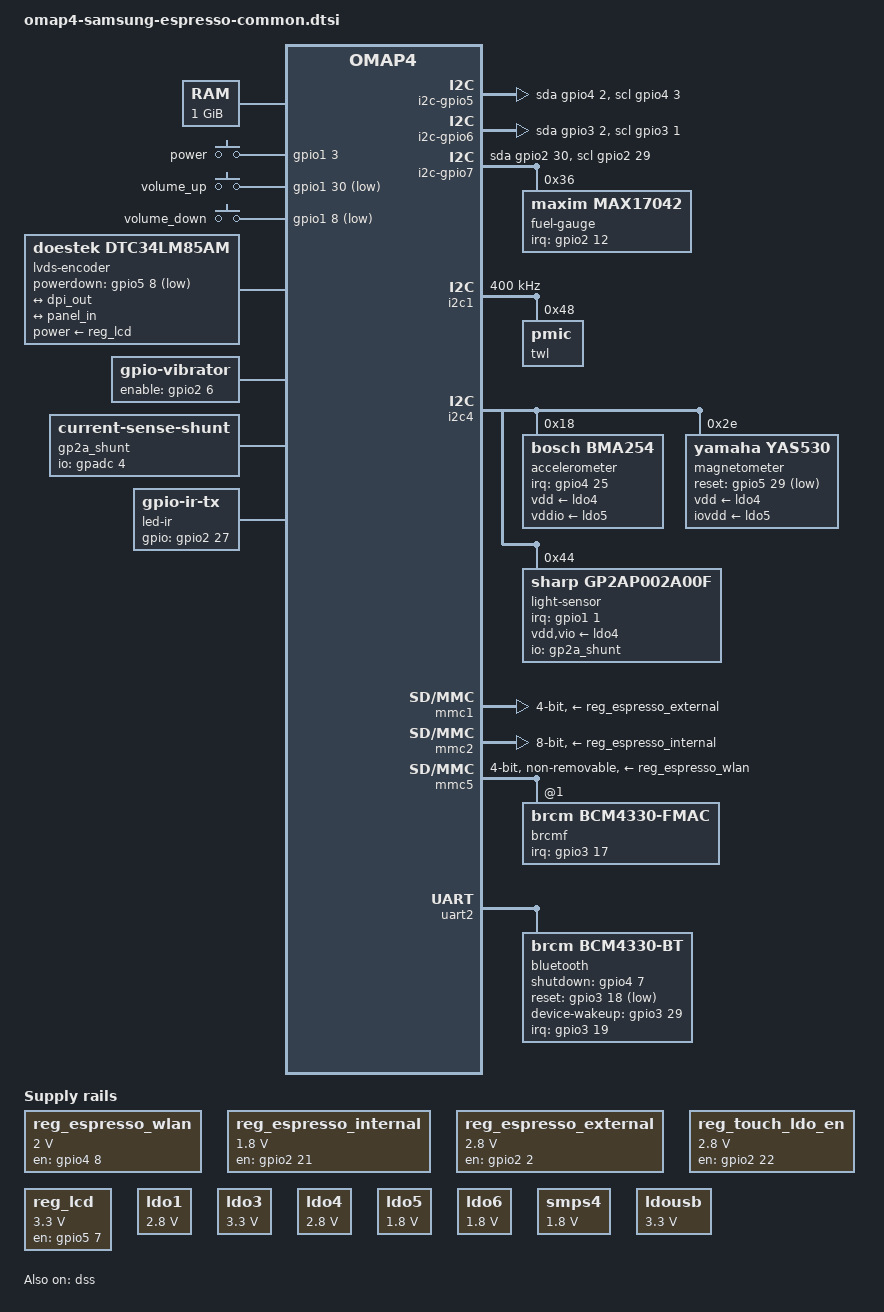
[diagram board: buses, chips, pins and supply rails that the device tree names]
// SPDX-License-Identifier: (GPL-2.0 OR MIT)
/dts-v1/;
#include "dt-bindings/gpio/gpio.h"
#include <dt-bindings/interrupt-controller/irq.h>
#include <dt-bindings/input/input.h>
#include "omap443x.dtsi"

/ {
	memory@80000000 {
		device_type = "memory";
		reg = <0x80000000 0x40000000>; /* 1 GB */
	};

	reserved-memory {
		#address-cells = <1>;
		#size-cells = <1>;
		ranges;

		continuous_splash: framebuffer@bef00000{
			reg = <0xbef00000 (1024 * 600 * 4)>;
			no-map;
		};
	};

	chosen {
		stdout-path = &uart3;
		#address-cells = <1>;
	};

	i2c-gpio5 {
		compatible = "i2c-gpio";
		pinctrl-names = "default";
		pinctrl-0 = <&i2c5_pins>;
		sda-gpios = <&gpio4 2 (GPIO_ACTIVE_HIGH | GPIO_OPEN_DRAIN)>;
		scl-gpios = <&gpio4 3 (GPIO_ACTIVE_HIGH | GPIO_OPEN_DRAIN)>;
		i2c-gpio,delay-us = <10>;
		#address-cells = <1>;
		#size-cells = <0>;

		/* TODO: SMB136 Charger for 7" variant at 0x4d */
	};

	i2c-gpio6 {
		compatible = "i2c-gpio";
		pinctrl-names = "default";
		pinctrl-0 = <&i2c6_pins>;
		sda-gpios = <&gpio3 2 (GPIO_ACTIVE_HIGH | GPIO_OPEN_DRAIN)>;
		scl-gpios = <&gpio3 1 (GPIO_ACTIVE_HIGH | GPIO_OPEN_DRAIN)>;
		i2c-gpio,delay-us = <10>;
		#address-cells = <1>;
		#size-cells = <0>;

		/* TODO: STMPE811 ADC at 0x41 */
	};

	i2c-gpio7 {
		compatible = "i2c-gpio";
		pinctrl-names = "default";
		pinctrl-0 = <&i2c7_pins>;
		sda-gpios = <&gpio2 30 (GPIO_ACTIVE_HIGH | GPIO_OPEN_DRAIN)>;
		scl-gpios = <&gpio2 29 (GPIO_ACTIVE_HIGH | GPIO_OPEN_DRAIN)>;
		i2c-gpio,delay-us = <3>;
		#address-cells = <1>;
		#size-cells = <0>;

		fuel-gauge@36 {
			compatible = "maxim,max17042";
			reg = <0x36>;
			pinctrl-0 = <&fuel_alert_irq>;
			pinctrl-names = "default";
			interrupt-parent = <&gpio2>;
			interrupts = <12 IRQ_TYPE_LEVEL_LOW>;
			maxim,rsns-microohm = <10000>;
			maxim,over-heat-temp = <500>;
			maxim,dead-volt = <2500>;
			maxim,over-volt = <4300>;
		};
	};

	reg_espresso_wlan: regulator-espresso-wlan {
		pinctrl-names = "default";
		pinctrl-0 = <&wlanen_gpio>;
		compatible = "regulator-fixed";
		regulator-name = "espresso_wlan";
		regulator-max-microvolt = <2000000>;
		regulator-min-microvolt = <2000000>;
		gpio = <&gpio4 8 GPIO_ACTIVE_HIGH>; /* GPIO_104 */
		startup-delay-us = <70000>;
		regulator-always-on;
		enable-active-high;
	};

	wlan_pwrseq: wlan-pwrseq {
		compatible = "mmc-pwrseq-simple";
		clocks = <&twl 0>;
		clock-names = "ext_clock";
	};

	reg_espresso_internal: regulator-espresso-internal {
		compatible = "regulator-fixed";
		regulator-name = "eMMC_LDO";
		regulator-max-microvolt = <1800000>;
		regulator-min-microvolt = <1800000>;
		gpios = <&gpio2 21 GPIO_ACTIVE_HIGH>; /* GPIO_63 */
		startup-delay-us = <100000>;
		regulator-boot-on;
		regulator-always-on;
		enable-active-high;
	};

	reg_espresso_external: regulator-espresso-external {
		compatible = "regulator-fixed";
		regulator-name = "vmmc1";
		regulator-max-microvolt = <2800000>;
		regulator-min-microvolt = <2800000>;
		gpios = <&gpio2 2 GPIO_ACTIVE_HIGH>; /* GPIO_34 */
		enable-active-high;
	};

	reg_touch_ldo_en: regulator-touch-ldo-en  {
		compatible = "regulator-fixed";
		regulator-name = "touch_ldo_en";
		regulator-max-microvolt = <2800000>;
		regulator-min-microvolt = <2800000>;
		gpios = <&gpio2 22 GPIO_ACTIVE_HIGH>; /* GPIO_54 */
		regulator-always-on;
		enable-active-high;
	};

	gpio-keys {
		compatible = "gpio-keys";
		pinctrl-names = "default";
		pinctrl-0 = <&gpio_keys>;

		key-power {
			label = "power";

			gpios = <&gpio1 3 GPIO_ACTIVE_HIGH>; /* GPIO_wk3 */
			linux,code = <KEY_POWER>;
			wakeup-source;
		};

		button-volup {
			linux,code = <KEY_VOLUMEUP>;
			label = "volume_up"; /* GPIO_wk30 */
			gpios = <&gpio1 30 GPIO_ACTIVE_LOW>;
		};

		button-voldown {
			linux,code = <KEY_VOLUMEDOWN>;
			label = "volume_down"; /* GPIO_wk8 */
			gpios = <&gpio1 8 GPIO_ACTIVE_LOW>;
		};
	};

	reg_lcd: regulator-lcd	{
		compatible = "regulator-fixed";
		regulator-name = "lcd_en";
		gpios = <&gpio5 7 GPIO_ACTIVE_HIGH>; /* GPIO_135 */
		regulator-max-microvolt = <3300000>;
		regulator-min-microvolt = <3300000>;
		enable-active-high;
		regulator-boot-on;
	};

	pwm10: pwm-10 {
		pinctrl-names = "default";
		pinctrl-0 = <&pwm10_default>;
		compatible = "ti,omap-dmtimer-pwm";
		#pwm-cells = <3>;
		ti,timers = <&timer10>;
		ti,clock-source = <0x00>;
	};

	lvds-encoder {
		compatible = "doestek,dtc34lm85am", "lvds-encoder";
		powerdown-gpios = <&gpio5 8 GPIO_ACTIVE_LOW>; /* GPIO_136 */
		power-supply = <&reg_lcd>;
		ports {
			#address-cells = <1>;
			#size-cells = <0>;

			port@0 {
				reg = <0>;
				bridge_in: endpoint {
					remote-endpoint = <&dpi_out>;
				};
			};

			port@1 {
				reg = <1>;
				bridge_out: endpoint {
					remote-endpoint = <&panel_in>;
				};
			};
		};
	};

	vibrator {
		compatible = "gpio-vibrator";
		enable-gpios = <&gpio2 6 GPIO_ACTIVE_HIGH>; /* GPIO_38 */
		pinctrl-names = "default";
		pinctrl-0 = <&vibrator_default>;
	};

	gp2a_shunt: current-sense-shunt {
		compatible = "current-sense-shunt";
		io-channels = <&gpadc 4>;
		shunt-resistor-micro-ohms = <24000000>; /* 24 ohms */
		#io-channel-cells = <0>;
	};

	led-ir {
		compatible = "gpio-ir-tx";
		gpios = <&gpio2 27 GPIO_ACTIVE_HIGH>; /* GPIO_59 */
		pinctrl-names = "default";
		pinctrl-0 = <&ledir_pins>;
	};
};

&omap4_pmx_wkup {
	gpio_keys: gpio-keys-pins {
		pinctrl-single,pins = <
			OMAP4_IOPAD(0x046, PIN_INPUT | MUX_MODE3)
			/* sim_cd.gpio_wk3 - EXT_WAKEUP */
			OMAP4_IOPAD(0x056, PIN_INPUT | MUX_MODE3)
			/* fref_clk3_req.gpio_wk30 - VOL_UP */
			OMAP4_IOPAD(0x05C, PIN_INPUT | MUX_MODE3)
			/* fref_clk4_out.gpio_wk8 - VOL_DN */
		>;
	};
};

&omap4_pmx_core {
	backlight_pins: pinmux-backlight-pins {
		pinctrl-single,pins = <
			OMAP4_IOPAD(0X0D8, PIN_OUTPUT | PIN_OFF_OUTPUT_LOW | MUX_MODE3)
			/* usbb1_ulpitll_dat7.gpio_95 - LED_BACKLIGHT_RESET */
		>;
	};

	bluetooth_pins: pinmux-bluetooth-pins {
		pinctrl-single,pins = <
			OMAP4_IOPAD(0x094, PIN_OUTPUT | MUX_MODE3)
			/* gpmc_ncs6.gpio_103 - BT_EN */
			OMAP4_IOPAD(0x0be, PIN_OUTPUT | MUX_MODE3)
			/* cam_strobe.gpio_82 - BT_nRST */
			OMAP4_IOPAD(0x0c0, PIN_INPUT | MUX_MODE3)
			/* cam_globalreset.gpio_83 - BT_HOST_WAKE */
			OMAP4_IOPAD(0x0d4, PIN_OUTPUT | MUX_MODE3)
			/* usbb1_ulpitll_dat5.gpio_93 - BT_WAKE */
		>;
	};

	dss_dpi_pins: pinmux-dss-dpi-pins {
		pinctrl-single,pins = <
			OMAP4_IOPAD(0x162, PIN_OFF_OUTPUT_LOW | MUX_MODE5)
			/* dispc2_data23 */
			OMAP4_IOPAD(0x164, PIN_OFF_OUTPUT_LOW | MUX_MODE5)
			/* dispc2_data22 */
			OMAP4_IOPAD(0x166, PIN_OFF_OUTPUT_LOW | MUX_MODE5)
			/* dispc2_data21 */
			OMAP4_IOPAD(0x168, PIN_OFF_OUTPUT_LOW | MUX_MODE5)
			/* dispc2_data20 */
			OMAP4_IOPAD(0x16a, PIN_OFF_OUTPUT_LOW | MUX_MODE5)
			/* dispc2_data19 */
			OMAP4_IOPAD(0x16c, PIN_OFF_OUTPUT_LOW | MUX_MODE5)
			/* dispc2_data18 */
			OMAP4_IOPAD(0x16e, PIN_OFF_OUTPUT_LOW | MUX_MODE5)
			/* dispc2_data15 */
			OMAP4_IOPAD(0x170, PIN_OFF_OUTPUT_LOW | MUX_MODE5)
			/* dispc2_data14 */
			OMAP4_IOPAD(0x172, PIN_OFF_OUTPUT_LOW | MUX_MODE5)
			/* dispc2_data13 */
			OMAP4_IOPAD(0x174, PIN_OFF_OUTPUT_LOW | MUX_MODE5)
			/* dispc2_data12 */
			OMAP4_IOPAD(0x176, PIN_OFF_OUTPUT_LOW | MUX_MODE5)
			/* dispc2_data11 */
			OMAP4_IOPAD(0x1b4, PIN_OFF_OUTPUT_LOW | MUX_MODE5)
			/* dispc2_data10 */
			OMAP4_IOPAD(0x1b6, PIN_OFF_OUTPUT_LOW | MUX_MODE5)
			/* dispc2_data9 */
			OMAP4_IOPAD(0x1b8, PIN_OFF_OUTPUT_LOW | MUX_MODE5)
			/* dispc2_data16 */
			OMAP4_IOPAD(0x1ba, PIN_OFF_OUTPUT_LOW | MUX_MODE5)
			/* dispc2_data17 */
			OMAP4_IOPAD(0x1bc, PIN_OFF_OUTPUT_LOW | MUX_MODE5)
			/* dispc2_hsync */
			OMAP4_IOPAD(0x1be, PIN_OFF_OUTPUT_LOW | MUX_MODE5)
			/* dispc2_pclk */
			OMAP4_IOPAD(0x1c0, PIN_OFF_OUTPUT_LOW | MUX_MODE5)
			/* dispc2_vsync */
			OMAP4_IOPAD(0x1c2, PIN_OFF_OUTPUT_LOW | MUX_MODE5)
			/* dispc2_de */
			OMAP4_IOPAD(0x1c4, PIN_OFF_OUTPUT_LOW | MUX_MODE5)
			/* dispc2_data8 */
			OMAP4_IOPAD(0x1c6, PIN_OFF_OUTPUT_LOW | MUX_MODE5)
			/* dispc2_data7 */
			OMAP4_IOPAD(0x1c8, PIN_OFF_OUTPUT_LOW | MUX_MODE5)
			/* dispc2_data6 */
			OMAP4_IOPAD(0x1ca, PIN_OFF_OUTPUT_LOW | MUX_MODE5)
			/* dispc2_data5 */
			OMAP4_IOPAD(0x1cc, PIN_OFF_OUTPUT_LOW | MUX_MODE5)
			/* dispc2_data4 */
			OMAP4_IOPAD(0x1ce, PIN_OFF_OUTPUT_LOW | MUX_MODE5)
			/* dispc2_data3 */

			OMAP4_IOPAD(0x1d0, PIN_OFF_OUTPUT_LOW | MUX_MODE5)
			/* dispc2_data2 */
			OMAP4_IOPAD(0x1d2, PIN_OFF_OUTPUT_LOW | MUX_MODE5)
			/* dispc2_data1 */
			OMAP4_IOPAD(0x1d4, PIN_OFF_OUTPUT_LOW | MUX_MODE5)
			/* dispc2_data0 */
		>;
	};

	fuel_alert_irq: pinmux-fuel-alert-pins {
		pinctrl-single,pins = <
			OMAP4_IOPAD(0x068, PIN_INPUT_PULLUP | MUX_MODE3)
			/* gpmc_a20.gpio_44 */
		>;
	};

	i2c1_pins: pinmux-i2c1-pins {
		pinctrl-single,pins = <
			OMAP4_IOPAD(0x122, PIN_INPUT_PULLUP | MUX_MODE0)
			/* i2c1_scl */
			OMAP4_IOPAD(0x124, PIN_INPUT_PULLUP | MUX_MODE0)
			/* i2c1_sda */
		>;
	};

	i2c2_pins: pinmux-i2c2-pins {
		pinctrl-single,pins = <
			OMAP4_IOPAD(0x126, PIN_INPUT_PULLUP | MUX_MODE0)
			/* i2c2_scl */
			OMAP4_IOPAD(0x128, PIN_INPUT_PULLUP | MUX_MODE0)
			/* i2c2_sda */
		>;
	};

	i2c3_pins: pinmux-i2c3-pins {
		pinctrl-single,pins = <
			OMAP4_IOPAD(0x12a, PIN_INPUT_PULLUP | MUX_MODE0)
			/* i2c3_scl */
			OMAP4_IOPAD(0x12c, PIN_INPUT_PULLUP | MUX_MODE0)
			/* i2c3_sda */
		>;
	};

	i2c4_pins: pinmux-i2c4-pins {
		pinctrl-single,pins = <
			OMAP4_IOPAD(0x12e, PIN_INPUT_PULLUP | MUX_MODE0)
			/* i2c4_scl */
			OMAP4_IOPAD(0x130, PIN_INPUT_PULLUP | MUX_MODE0)
			/* i2c4_sda */
		>;
	};

	i2c5_pins: pinmux-i2c5-pins {
		pinctrl-single,pins = <
			OMAP4_IOPAD(0x0de, PIN_INPUT_PULLUP | MUX_MODE3)
			/* usbc1_icusb_dp.gpio_98 */
			OMAP4_IOPAD(0x0e0, PIN_INPUT_PULLUP | MUX_MODE3)
			/* usbc1_icusb_dm.gpio_99 */
		>;
	};

	i2c6_pins: pinmux-i2c6-pins {
		pinctrl-single,pins = <
			OMAP4_IOPAD(0x09c, PIN_INPUT_PULLUP | MUX_MODE3)
			/* hdmi_ddc_scl.gpio_65 */
			OMAP4_IOPAD(0x09e, PIN_INPUT_PULLUP | MUX_MODE3)
			/* hdmi_ddc_sda.gpio_66 */
		>;
	};

	i2c7_pins: pinmux-i2c7-pins {
		pinctrl-single,pins = <
			OMAP4_IOPAD(0x08a, PIN_INPUT_PULLUP | MUX_MODE3)
			/* gpmc_wait0.gpio_61 */
			OMAP4_IOPAD(0x08c, PIN_INPUT_PULLUP | MUX_MODE3)
			/* gpmc_wait1.gpio_62 */
		>;
	};

	ledir_pins: pimux-ledir-pins {
		pinctrl-single,pins = <
			OMAP4_IOPAD(0x086, PIN_INPUT_PULLDOWN | MUX_MODE7)
			/* gpmc_nbe0_cle.gpio_59 */
			OMAP4_IOPAD(0x156, PIN_INPUT_PULLDOWN | MUX_MODE7)
			/* mcspi4_simo.gpio_152 */
		>;
	};

	lvds_pins: pinmux-lvds-pins {
		pinctrl-single,pins = <
			OMAP4_IOPAD(0X136, PIN_OUTPUT | MUX_MODE3)
			/* mcspi1_simo.gpio_136 - LVDS_nSHDN */
		>;
	};

	mmc1_pins: pinmux-mmc1-pins {
		pinctrl-single,pins = <
			OMAP4_IOPAD(0x0e2, PIN_INPUT_PULLDOWN | MUX_MODE0)
			/* sdmmc1_clk */
			OMAP4_IOPAD(0x0e4, PIN_INPUT_PULLUP | MUX_MODE0)
			/* sdmcc1_cmd */
			OMAP4_IOPAD(0x0e6, PIN_INPUT_PULLUP | MUX_MODE0)
			/* sdmcc1_dat0 */
			OMAP4_IOPAD(0x0e8, PIN_INPUT_PULLUP | MUX_MODE0)
			/* sdmmc1_dat1 */
			OMAP4_IOPAD(0x0ea, PIN_INPUT_PULLUP | MUX_MODE0)
			/* sdmmc1_dat2 */
			OMAP4_IOPAD(0x0ec, PIN_INPUT_PULLUP | MUX_MODE0)
			/* sdmmc1_dat3 */
		>;
	};

	mmc2_pins: pinmux-mmc2-pins {
		pinctrl-single,pins = <
			OMAP4_IOPAD(0x040, PIN_INPUT_PULLUP | MUX_MODE1)
			/* sdmmc2_dat0 */
			OMAP4_IOPAD(0x042, PIN_INPUT_PULLUP | MUX_MODE1)
			/* sdmmc2_dat1 */
			OMAP4_IOPAD(0x044, PIN_INPUT_PULLUP | MUX_MODE1)
			/* sdmmc2_dat2 */
			OMAP4_IOPAD(0x046, PIN_INPUT_PULLUP | MUX_MODE1)
			/* sdmmc2_dat3 */
			OMAP4_IOPAD(0x048, PIN_INPUT_PULLUP | MUX_MODE1)
			/* sdmmc2_dat4 */
			OMAP4_IOPAD(0x04a, PIN_INPUT_PULLUP | MUX_MODE1)
			/* sdmmc2_dat5 */
			OMAP4_IOPAD(0x04c, PIN_INPUT_PULLUP | MUX_MODE1)
			/* sdmmc2_dat6 */
			OMAP4_IOPAD(0x04e, PIN_INPUT_PULLUP | MUX_MODE1)
			/* sdmmc2_dat7 */
			OMAP4_IOPAD(0x082, PIN_INPUT_PULLUP | MUX_MODE1)
			/* sdmmc2_clk */
			OMAP4_IOPAD(0x084, PIN_INPUT_PULLUP | MUX_MODE1)
			/* sdmmc2_cmd */
		>;
	};

	mmc5_pins: pinmux-mmc5-pins {
		pinctrl-single,pins = <
			OMAP4_IOPAD(0x148, PIN_INPUT_PULLDOWN | MUX_MODE0)
			/* sdmmc5_clk.sdmmc5_clk */
			OMAP4_IOPAD(0x14a, PIN_INPUT_PULLUP | MUX_MODE0)
			/* sdmmc5_cmd.sdmmc5_cmd */
			OMAP4_IOPAD(0x14c, PIN_INPUT_PULLUP | MUX_MODE0)
			/* sdmmc5_dat0.sdmmc5_dat0 */
			OMAP4_IOPAD(0x14e, PIN_INPUT_PULLUP | MUX_MODE0)
			/* sdmmc5_dat1.sdmmc5_dat1 */
			OMAP4_IOPAD(0x150, PIN_INPUT_PULLUP | MUX_MODE0)
			/* sdmmc5_dat2.sdmmc5_dat2 */
			OMAP4_IOPAD(0x152, PIN_INPUT_PULLUP | MUX_MODE0)
			/* sdmmc5_dat3.sdmmc5_dat3 */
		>;
	};

	pwm10_default: pinmux-pwm10-pins {
		pinctrl-single,pins = <
			OMAP4_IOPAD(0X0D6, PIN_OUTPUT | PIN_OFF_OUTPUT_LOW | MUX_MODE1)
			/* usbb1_ulpitll_dat6.dmtimer10_pwm_evt - LED_BACKLIGHT_PWM */
		>;
	};

	touch_pins: pinmux-touch-pins {
		pinctrl-single,pins = <
			OMAP4_IOPAD(0x06c, PIN_INPUT | MUX_MODE3)
			/* gpmc_a22.gpio_46 - TSP_INT */
		>;
	};

	uart2_pins: pinmux-uart2-pins {
		pinctrl-single,pins = <
			OMAP4_IOPAD(0x118, PIN_INPUT_PULLUP | MUX_MODE0)
			/* uart2_cts.uart2_cts */
			OMAP4_IOPAD(0x11a, PIN_INPUT_PULLUP | MUX_MODE0)
			/* uart2_rts.uart2_rts */
			OMAP4_IOPAD(0x11c, PIN_INPUT_PULLUP | MUX_MODE0)
			/* uart2_rx.uart2_rx */
			OMAP4_IOPAD(0x11e, PIN_INPUT_PULLUP | MUX_MODE0)
			/* uart2_tx.uart2_tx */
		>;
	};

	uart3_pins: pinmux-uart3-pins {
		pinctrl-single,pins = <
			OMAP4_IOPAD(0x144, PIN_INPUT | MUX_MODE0)
			/* uart3_rx_irrx */
			OMAP4_IOPAD(0x146, PIN_OUTPUT | MUX_MODE0)
			/* uart3_tx_irtx */
		>;
	};

	vibrator_default: pinmux-vibrator-pins {
		pinctrl-single,pins = <
			OMAP4_IOPAD(0x05c, PIN_INPUT_PULLDOWN | MUX_MODE3)
			/* gpmc_ad14.gpio_38 - MOTOR_EN */
		>;
	};

	wlanen_gpio: pinmux-wlanen-pins {
		pinctrl-single,pins = <
			OMAP4_IOPAD(0x096, PIN_OUTPUT | MUX_MODE3)
			/* gpmc_ncs7.gpio_104 */
		>;
	};

	wlan_host_wake: pinmux-wlan-host-wake-pins {
		pinctrl-single,pins = <
			OMAP4_IOPAD(0x0bc, PIN_INPUT | MUX_MODE3)
			/* cam_shutter.gpio_81 - WLAN_HOST_WAKE */
		>;
	};
};

&uart3 {
	pinctrl-names = "default";
	pinctrl-0 = <&uart3_pins>;

	interrupts-extended = <&wakeupgen GIC_SPI 74 IRQ_TYPE_LEVEL_HIGH
				   &omap4_pmx_core OMAP4_UART3_RX>;
};

&i2c1 {
	pinctrl-names = "default";
	pinctrl-0 = <&i2c1_pins>;

	clock-frequency = <400000>;

	twl: pmic@48 {
		reg = <0x48>;
		#clock-cells = <1>;

		pinctrl-names = "default";
		pinctrl-0 = <
			&twl6030_pins
			&twl6030_wkup_pins
		>;

		/* SPI = 0, IRQ# = 7, 4 = active high level-sensitive */
		interrupts = <GIC_SPI 7 IRQ_TYPE_LEVEL_HIGH>; /* IRQ_SYS_1N cascaded to gic */
		interrupt-parent = <&gic>;
		system-power-controller;
	};
};

#include "twl6032.dtsi"
#include "twl6030_omap4.dtsi"

&ldo1 {
	regulator-min-microvolt = <2800000>;
	regulator-max-microvolt = <2800000>;
	regulator-always-on;
	regulator-state-mem {
		regulator-off-in-suspend;
	};
};

&ldo3 {
	regulator-min-microvolt = <3300000>;
	regulator-max-microvolt = <3300000>;
	regulator-always-on;
	regulator-state-mem {
		regulator-off-in-suspend;
	};
};

&ldo4 {
	regulator-min-microvolt = <2800000>;
	regulator-max-microvolt = <2800000>;
	regulator-always-on;
};

&ldo5 {
	regulator-min-microvolt = <1800000>;
	regulator-max-microvolt = <1800000>;
	regulator-always-on;
};

&ldo6 {
	regulator-min-microvolt = <1800000>;
	regulator-max-microvolt = <1800000>;
	regulator-always-on;
	regulator-state-mem {
		regulator-off-in-suspend;
	};
};

&smps4 {
	regulator-min-microvolt = <1800000>;
	regulator-max-microvolt = <1800000>;
	regulator-always-on;
};

&ldousb {
	regulator-min-microvolt = <3300000>;
	regulator-max-microvolt = <3300000>;
	regulator-always-on;
};

&i2c2 {
	pinctrl-names = "default";
	pinctrl-0 = <&i2c2_pins>;
};

&i2c3 {
	pinctrl-names = "default";
	pinctrl-0 = <&i2c3_pins>;
};

&i2c4 {
	pinctrl-names = "default";
	pinctrl-0 = <&i2c4_pins>;

	accelerometer@18 {
		compatible = "bosch,bma254";
		reg = <0x18>;
		vdd-supply = <&ldo4>;
		vddio-supply = <&ldo5>;
		interrupt-parent = <&gpio4>;
		interrupts = <25 (IRQ_TYPE_LEVEL_HIGH | IRQ_TYPE_EDGE_RISING)>,
			<26 (IRQ_TYPE_LEVEL_HIGH | IRQ_TYPE_EDGE_RISING)>;
	};

	magnetometer@2e {
		compatible = "yamaha,yas530";
		reg = <0x2e>;
		vdd-supply = <&ldo4>;
		iovdd-supply = <&ldo5>;
		reset-gpios = <&gpio5 29 GPIO_ACTIVE_LOW>;
		interrupts = <&gpio6 10 IRQ_TYPE_EDGE_RISING>;
	};

	light-sensor@44 {
		compatible = "sharp,gp2ap002a00f";
		reg = <0x44>;
		interrupt-parent = <&gpio1>;
		interrupts = <1 IRQ_TYPE_EDGE_FALLING>;
		vdd-supply = <&ldo4>;
		vio-supply = <&ldo4>;
		io-channels = <&gp2a_shunt>;
		io-channel-names = "alsout";
		sharp,proximity-far-hysteresis = /bits/ 8 <0x40>;
		sharp,proximity-close-hysteresis = /bits/ 8 <0x20>;
	};
};

&dss {
	status = "okay";

	pinctrl-names = "default";
	pinctrl-0 = <&dss_dpi_pins>;

	port {
		dpi_out: endpoint {
			remote-endpoint = <&bridge_in>;
			data-lines = <24>;
		};
	};
};

&twl_usb_comparator {
	usb-supply = <&ldousb>;
};

&usb_otg_hs {
	interface-type = <1>;
	mode = <3>;
	power = <50>;
};

&mmc1 {
	status = "okay";
	pinctrl-names = "default";
	pinctrl-0 = <&mmc1_pins>;

	vmmc-supply = <&reg_espresso_external>;
	bus-width = <4>;
};

&mmc2 {
	pinctrl-names = "default";
	pinctrl-0 = <&mmc2_pins>;

	vmmc-supply = <&reg_espresso_internal>;
	ti,non-removable;
	bus-width = <8>;
};

&mmc3 {
	status = "disabled";
};

&mmc4 {
	status = "disabled";
};

&mmc5 {
	status = "okay";

	#address-cells = <1>;
	#size-cells = <0>;

	non-removable;
	bus-width = <4>;
	vmmc-supply = <&reg_espresso_wlan>;
	mmc-pwrseq = <&wlan_pwrseq>;

	pinctrl-names = "default";
	pinctrl-0 = <&mmc5_pins>;

	brcmf: wifi@1 {
		compatible = "brcm,bcm4330-fmac", "brcm,bcm4329-fmac";
		reg = <1>;

		interrupt-parent = <&gpio3>;
		interrupts = <17 IRQ_TYPE_LEVEL_HIGH>;
		interrupt-names = "host-wake";
		pinctrl-names = "default";
		pinctrl-0 = <&wlan_host_wake>;
	};
};

&uart2 {
	interrupts-extended = <&wakeupgen GIC_SPI 73 IRQ_TYPE_LEVEL_HIGH
				&omap4_pmx_core OMAP4_UART2_RX>;
	pinctrl-names = "default";
	pinctrl-0 = <&uart2_pins>;
	bluetooth {
		compatible = "brcm,bcm4330-bt";
		pinctrl-names = "default";
		pinctrl-0 = <&bluetooth_pins>;
		shutdown-gpios = <&gpio4 7 GPIO_ACTIVE_HIGH>;
		reset-gpios = <&gpio3 18 GPIO_ACTIVE_LOW>;
		device-wakeup-gpios = <&gpio3 29 GPIO_ACTIVE_HIGH>;
		interrupt-parent = <&gpio3>;
		interrupts = <19 IRQ_TYPE_EDGE_FALLING>;
		interrupt-names = "host-wakeup";
	};
};
